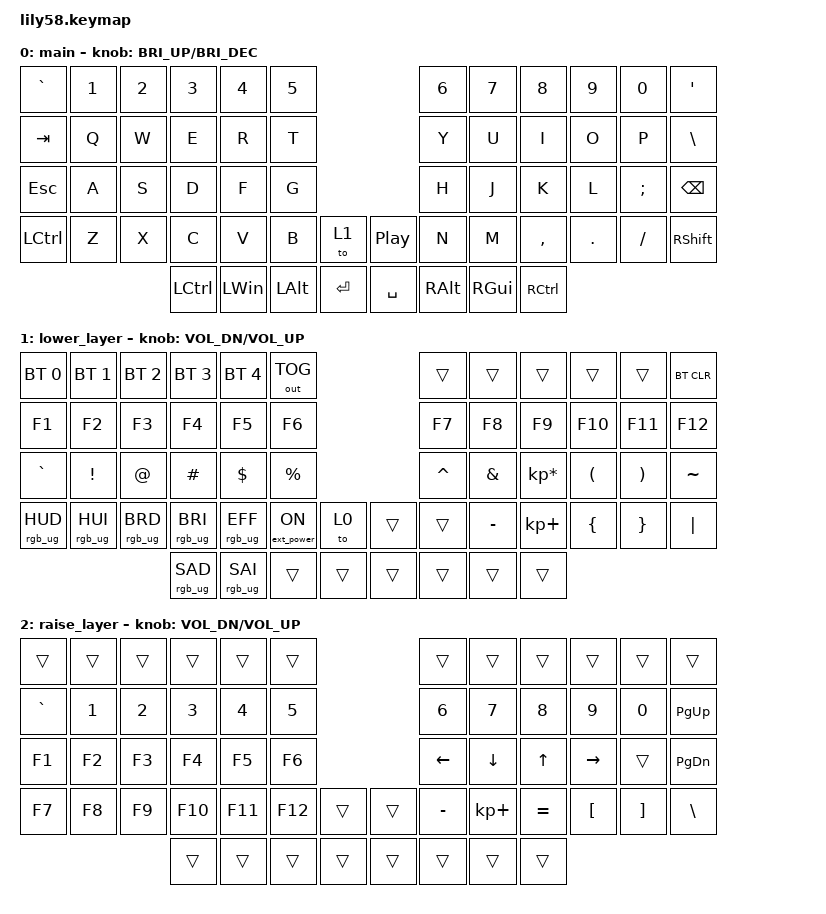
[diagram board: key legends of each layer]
/*
 * Copyright (c) 2020 The ZMK Contributors
 *
 * SPDX-License-Identifier: MIT
 */

#include <dt-bindings/led/led.h>
#include <behaviors.dtsi>
#include <dt-bindings/zmk/bt.h>
#include <dt-bindings/zmk/ext_power.h>
#include <dt-bindings/zmk/keys.h>
#include <dt-bindings/zmk/outputs.h>
#include <dt-bindings/zmk/rgb.h>

&led_strip { chain-length = <35>; };

/ {
    combos {
        compatible = "zmk,combos";

        enter_combo {
            bindings = <&kp ENTER>;
            key-positions = <31 32 33>;
        };
    };

    keymap {
        compatible = "zmk,keymap";

        main {
            // ------------------------------------------------------------------------------------------------------------
            // |  ESC  |  1  |  2  |  3   |  4     |  5    |                   |  6   |  7     |  8    |  9   |   0   |   `   |
            // |  TAB  |  Q  |  W  |  E   |  R     |  T    |                   |  Y   |  U     |  I    |  O   |   P   |   -   |
            // |  CTRL |  A  |  S  |  D   |  F     |  G    |                   |  H   |  J     |  K    |  L   |   ;   |   '   |
            // | SHIFT |  Z  |  X  |  C   |  V     |  B    | "CAPS" |  |  "]"  |  N   |  M     |  ,    |  .   |   /   | SHIFT |
            //                     | ALT  |  GUI   | LOWER | SPACE  |  | ENTER | BSPC |  RAISE | CAPS  |

            bindings = <
&kp GRAVE   &kp N1  &kp N2  &kp N3     &kp N4        &kp N5                                &kp N6         &kp N7         &kp N8     &kp N9   &kp N0    &kp APOS
&kp TAB     &kp Q   &kp W   &kp E      &kp R         &kp T                                 &kp Y          &kp U          &kp I      &kp O    &kp P     &kp BACKSLASH
&kp ESCAPE  &kp A   &kp S   &kp D      &kp F         &kp G                                 &kp H          &kp J          &kp K      &kp L    &kp SEMI  &kp BACKSPACE
&kp LCTRL   &kp Z   &kp X   &kp C      &kp V         &kp B         &to 1        &kp C_PP   &kp N          &kp M          &kp COMMA  &kp DOT  &kp FSLH  &kp RSHFT
                            &kp LCTRL  &kp LEFT_WIN  &kp LEFT_ALT  &kp ENTER    &kp SPACE  &kp RIGHT_ALT  &kp RIGHT_GUI  &kp RCTRL
            >;

            // sensor-bindings = <&inc_dec_kp C_VOL_UP C_VOL_DN &inc_dec_kp C_VOL_UP C_VOL_DN>;

            sensor-bindings = <&inc_dec_kp C_BRI_UP C_BRI_DEC>;
        };

        lower_layer {
            // ------------------------------------------------------------------------------------------------------------
            // | BTCLR | BT1 | BT2 |  BT3 |  BT4 |  TOG |                   |      |       |       |      |       |       |
            // |  F1   |  F2 |  F3 |  F4  |  F5  |  F6  |                   |  F7  |  F8   |  F9   |  F10 |  F11  |  F12  |
            // |   `   |  !  |  @  |  #   |  $   |  %   |                   |  ^   |  &    |  *    |  (   |   )   |   ~   |
            // |       |     |     |      |      |      |        |  |       |      |  _    |  +    |  {   |   }   |  "|"  |
            //                     |      |      |      |        |  |       |      |       |       |

            bindings = <
&bt BT_SEL 0     &bt BT_SEL 1     &bt BT_SEL 2     &bt BT_SEL 3     &bt BT_SEL 4     &out OUT_TOG                        &trans     &trans     &trans           &trans    &trans    &bt BT_CLR
&kp F1           &kp F2           &kp F3           &kp F4           &kp F5           &kp F6                              &kp F7     &kp F8     &kp F9           &kp F10   &kp F11   &kp F12
&kp GRAVE        &kp EXCL         &kp AT           &kp HASH         &kp DOLLAR       &kp PRCNT                           &kp CARET  &kp AMPS   &kp KP_MULTIPLY  &kp LPAR  &kp RPAR  &kp TILDE
&rgb_ug RGB_HUD  &rgb_ug RGB_HUI  &rgb_ug RGB_BRD  &rgb_ug RGB_BRI  &rgb_ug RGB_EFF  &ext_power EP_ON  &to 0     &trans  &trans     &kp MINUS  &kp KP_PLUS      &kp LBRC  &kp RBRC  &kp PIPE
                                                   &rgb_ug RGB_SAD  &rgb_ug RGB_SAI  &trans            &trans    &trans  &trans     &trans     &trans
            >;

            sensor-bindings = <&inc_dec_kp C_VOL_DN C_VOL_UP>;
        };

        raise_layer {
            // ------------------------------------------------------------------------------------------------------------
            // |       |     |     |      |      |      |                   |      |       |       |      |       |       |
            // |   `   |  1  |  2  |  3   |  4   |  5   |                   |  6   |   7   |   8   |  9   |   0   | PG_UP |
            // |   F1  |  F2 |  F3 |  F4  |  F5  |  F6  |                   |  <-  |   v   |   ^   |  ->  |       | PG_DN |
            // |   F7  |  F8 |  F9 |  F10 |  F11 |  F12 |        |  |       |  -   |   +   |   =   |  [   |   ]   |   \   |
            //                     |      |      |      |        |  |       |      |       |       |

            bindings = <
&trans     &trans  &trans  &trans   &trans   &trans                     &trans     &trans       &trans     &trans     &trans    &trans
&kp GRAVE  &kp N1  &kp N2  &kp N3   &kp N4   &kp N5                     &kp N6     &kp N7       &kp N8     &kp N9     &kp N0    &kp PG_UP
&kp F1     &kp F2  &kp F3  &kp F4   &kp F5   &kp F6                     &kp LEFT   &kp DOWN     &kp UP     &kp RIGHT  &trans    &kp PG_DN
&kp F7     &kp F8  &kp F9  &kp F10  &kp F11  &kp F12  &trans    &trans  &kp MINUS  &kp KP_PLUS  &kp EQUAL  &kp LBKT   &kp RBKT  &kp BSLH
                           &trans   &trans   &trans   &trans    &trans  &trans     &trans       &trans
            >;

            sensor-bindings = <&inc_dec_kp C_VOL_DN C_VOL_UP>;
        };
    };
};
